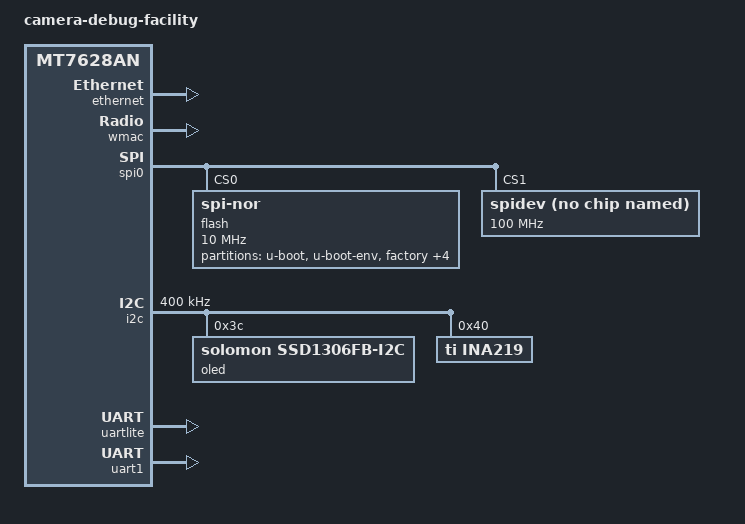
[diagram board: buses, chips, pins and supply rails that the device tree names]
#include "mt7628an.dtsi"

#include <dt-bindings/gpio/gpio.h>
#include <dt-bindings/input/input.h>

/ {
	compatible = "openhisiipcam,camera-debug-facility", "mediatek,mt7628an-soc";
	model = "camera-debug-facility";
	chosen {
		bootargs = "console=ttyS0,115200";
	};

	aliases {
		serial0 = &uartlite;
	};
};

&state_default {
	gpio {
                groups = "wdt", "gpio";
                function = "gpio";
        };
};

&ethernet {
	status = "okay";
        mtd-mac-address = <&factory 0x4>;
};

&wmac {
        status = "okay";
        ralink,mtd-eeprom = <&factory 0x0>;
};

&spi0 {
	status = "okay";

	pinctrl-names = "default";
	pinctrl-0 = <&spi_pins>, <&spi_cs1_pins>;

	flash@0 {
		compatible = "jedec,spi-nor";
		reg = <0>;
		spi-max-frequency = <10000000>;

		partitions {
			compatible = "fixed-partitions";
			#address-cells = <1>;
			#size-cells = <1>;

			partition@0 {
				label = "u-boot";
				reg = <0x0 0x80000>;
				read-only;
			};

			partition@80000 {
                                label = "u-boot-env";
                                reg = <0x80000 0x10000>;
                                read-only;
                        };

			factory: partition@90000 {
                                label = "factory";
                                reg = <0x90000 0x10000>;
                                read-only;
                        };

            		partition@A0000 {
                		label = "kernel";
                		reg = <0xA0000 0x400000>;
            		};

            		partition@4A0000 {
                		label = "dtb";
                		reg = <0x4A0000 0x10000>;
            		};

			partition@4B0000 {
                                label = "rootfs";
                                reg = <0x4B0000 0x800000>;
                        };

			partition@CB0000 {
                                label = "user";
                                reg = <0xCB0000 0x350000>;
                        };
		};
	};

        spidev@1 {
                #address-cells = <1>;
                #size-cells = <1>;
                compatible = "linux,spidev";
                reg = <1>;
                spi-max-frequency = <100000000>;
        };
};

&i2c {
	status = "okay";
	clock-frequency = <400000>;

	oled@3c {
		compatible = "solomon,ssd1306fb-i2c";
 		reg = <0x3c>;
		solomon,width = <128>;
		solomon,height = <64>;
		solomon,page-offset = <0>;
		solomon,com-invdir = <1>;
 	};
	
	ina219@40 {
		compatible = "ti,ina219";
		reg = <0x40>;
		shunt-resistor = <100000>;
	};
};

&uartlite {
	status = "okay";
};

&uart1 {
        status = "okay";
};
